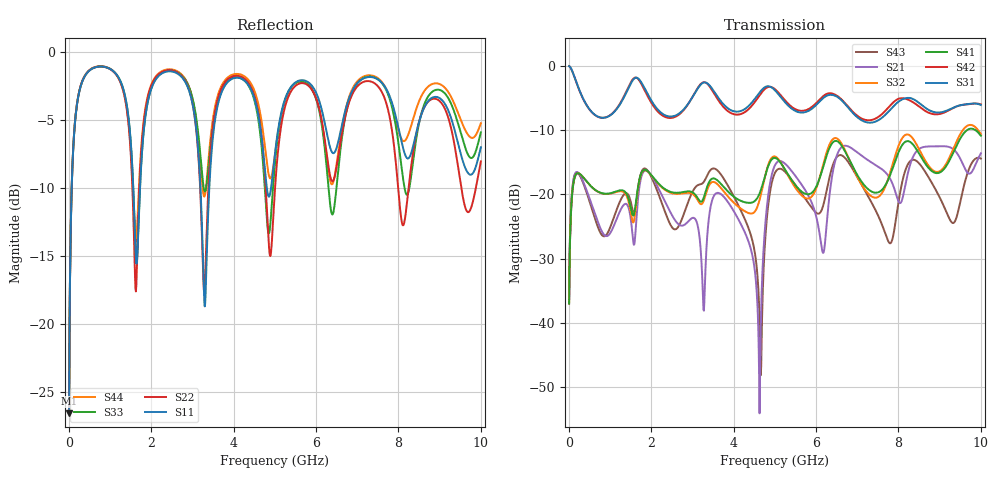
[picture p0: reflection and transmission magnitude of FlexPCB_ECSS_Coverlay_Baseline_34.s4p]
! TOUCHSTONE file generated by CST MICROWAVE STUDIO
! Date and time: Sun Jul  5 19:09:53 2026
! Project name: FlexPCB_ECSS_Coverlay_Baseline.cst
! Parameters = {Gap=1.2; GroundW=9.6; Hadh=0.025; Hcov=0.025; Hsub=0.1; L=50; Tcu=0.035; W=0.24}
! Header version: 2024
! Port assignment regex: !\s*Touchstone port\s*([0-9]+)\s*=\s*(CST MWS port|CST DES external port|CST DES block port)\s*(.+)\s* \(\"(.*)\"\)(\s*mode\s*([0-9]+))?.*
! Touchstone port assignment:
! Touchstone port 1 = CST MWS port 1 ("")
! Touchstone port 2 = CST MWS port 2 ("")
! Touchstone port 3 = CST MWS port 3 ("")
! Touchstone port 4 = CST MWS port 4 ("")
# GHz S MA R 50
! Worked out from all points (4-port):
!   1002 points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, 10 MHz to 10 GHz, reference 50 ohm
!   strongest paths, dB at 10 MHz, 2.51 GHz, 5.01 GHz, 7.503 GHz, 10 GHz:
!     S31: 0.0, -7.9, -3.8, -8.5, -6.1
!     S42: 0.0, -8.1, -3.6, -8.0, -6.0
!     S41: -37.0, -19.7, -14.3, -19.7, -10.8
!     S32: -37.0, -19.8, -14.1, -20.4, -10.6
!     S21: -36.3, -23.3, -15.4, -15.6, -13.6
!     S43: -36.3, -25.1, -16.6, -23.2, -14.4
!   lowest |S11| = -26.6 dB at 10 MHz (marker M1), VSWR 1.10, Z = 49.6 - j4.66 ohm
!   |S11| at or under -10 dB: 1.566 GHz to 1.729 GHz (163.4 MHz wide, 9.92 % of centre); 3.196 GHz to 3.411 GHz (214.4 MHz wide, 6.49 % of centre); 4.808 GHz to 4.909 GHz (101 MHz wide, 2.08 % of centre)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
0.01  0.04688 -92.3  0.01531 84.1  0.9977 -3.1  0.01414 84.2
      0.01531 84.1  0.04729 -92.4  0.01414 84.2  0.9977 -3.1
      0.9977 -3.1  0.01414 84.2  0.04689 -92.3  0.01531 84.2
      0.01414 84.2  0.9977 -3.1  0.01531 84.2  0.04729 -92.3
1.62  0.1891 151.7  0.05084 28.0  0.8098 -177.8  0.08143 -141.4
      0.05084 28.0  0.1354 163.4  0.07518 -137.7  0.8141 179.3
      0.8098 -177.8  0.07518 -137.7  0.1927 153.3  0.07874 20.5
      0.08143 -141.4  0.8141 179.3  0.07874 20.5  0.2037 170.3
3.26  0.1679 135.1  0.01491 -53.1  0.7407 1.6  0.09157 30.2
      0.01491 -53.1  0.1557 144.6  0.08704 28.4  0.7456 -0.0
      0.7407 1.6  0.08704 28.4  0.3302 157.5  0.1233 -7.5
      0.09157 30.2  0.7456 -0.0  0.1233 -7.5  0.3063 164.7
4.63  0.5516 148.8  0.001975 -8.0  0.6211 -146.6  0.1016 -94.0
      0.001975 -8.0  0.5659 136.9  0.09058 -81.8  0.5907 -143.3
      0.6211 -146.6  0.09058 -81.8  0.5266 137.3  0.01094 -108.2
      0.1016 -94.0  0.5907 -143.3  0.01094 -108.2  0.6147 151.2
4.83  0.3012 166.6  0.09258 51.1  0.6963 179.8  0.1628 -115.6
      0.09258 51.1  0.2293 140.7  0.1663 -106.6  0.6851 -175.5
      0.6963 179.8  0.1663 -106.6  0.2231 158.5  0.07713 54.3
      0.1628 -115.6  0.6851 -175.5  0.07713 54.3  0.3705 160.1
6.34  0.4475 163.8  0.1067 57.4  0.5969 8.3  0.2353 78.7
      0.1067 57.4  0.3523 159.9  0.2498 83.7  0.6142 7.5
      0.5969 8.3  0.2498 83.7  0.278 155.6  0.1417 89.8
      0.2353 78.7  0.6142 7.5  0.1417 89.8  0.3389 166.9
10  0.4474 -177.1  0.2091 -39.7  0.4976 -49.3  0.2868 12.8
    0.2091 -39.7  0.3969 -173.9  0.2956 14.3  0.503 -50.5
    0.4976 -49.3  0.2956 14.3  0.5079 -175.9  0.1903 -21.3
    0.2868 12.8  0.503 -50.5  0.1903 -21.3  0.5485 -174.8
